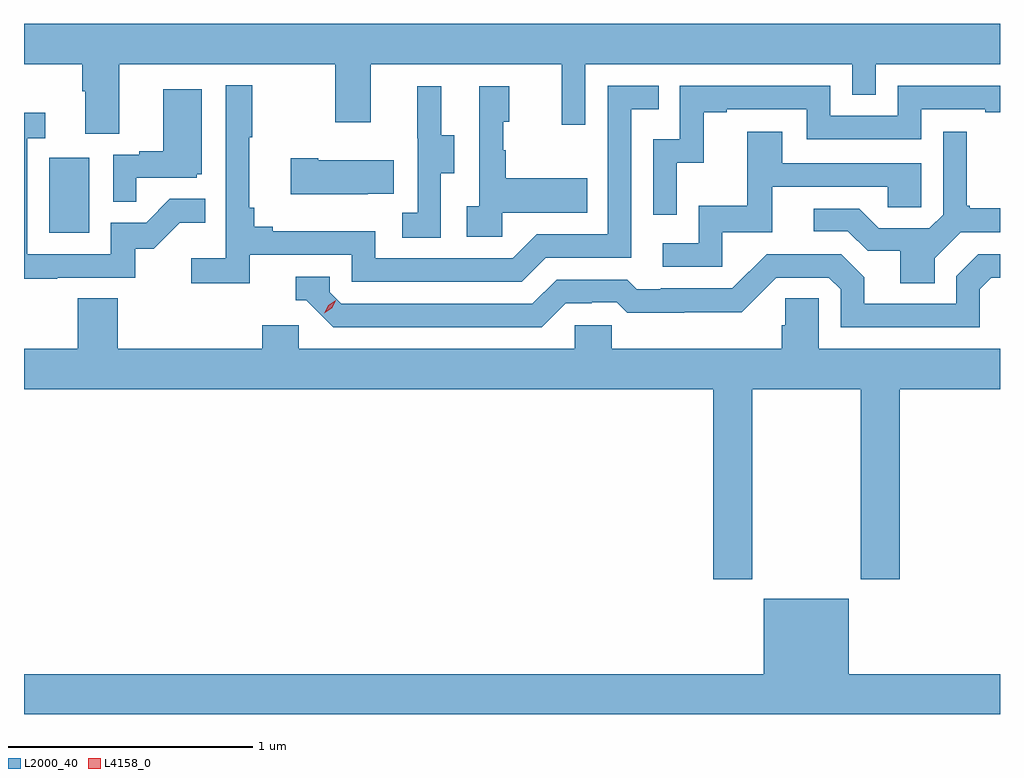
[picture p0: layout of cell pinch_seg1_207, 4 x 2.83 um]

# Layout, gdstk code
import gdstk
lib = gdstk.Library(unit=1e-6, precision=1e-09)
def R(c, l, rs):  # rectangles x0, y0, x1, y1
    for r in rs: c.add(gdstk.rectangle(r[:2], r[2:], *l))
def P(c, l, *ps):  # polygons
    for p in ps: c.add(gdstk.Polygon(p, *l))
L2000_40 = (2000, 40)
L4158_0 = (4158, 0)

pinch_seg1_207 = lib.new_cell('pinch_seg1_207')
R(pinch_seg1_207, L2000_40, [(1009.142,571.02,1009.306,571.327)])
P(pinch_seg1_207, L2000_40, [(1009.039,571.712),(1009.277,571.712),(1009.277,571.6),(1009.289,571.6),(1009.289,571.426),(1009.429,571.426),(1009.429,571.712),(1010.314,571.712),(1010.314,571.473),(1010.461,571.473),(1010.461,571.712),(1011.242,571.712),(1011.242,571.464),(1011.339,571.464),(1011.339,571.712),(1012.434,571.712),(1012.434,571.585),(1012.53,571.585),(1012.53,571.712),(1013.039,571.712),(1013.039,571.876),(1009.039,571.876)],
  [(1009.964,570.93),(1010.382,570.93),(1010.382,570.819),(1011.079,570.819),(1011.178,570.918),(1011.528,570.918),(1011.528,571.527),(1011.641,571.527),(1011.641,571.623),(1011.432,571.623),(1011.432,571.014),(1011.141,571.014),(1011.042,570.915),(1010.478,570.915),(1010.478,571.027),(1010.059,571.027),(1010.059,571.046),(1009.982,571.046),(1009.982,571.123),(1009.963,571.123),(1009.963,571.411),(1009.975,571.411),(1009.975,571.624),(1009.866,571.624),(1009.866,570.916),(1009.725,570.916),(1009.725,570.814),(1009.964,570.814)],
  [(1011.714,571.307),(1011.824,571.307),(1011.824,571.515),(1011.919,571.515),(1011.919,571.527),(1012.248,571.527),(1012.248,571.404),(1012.716,571.404),(1012.716,571.527),(1012.979,571.527),(1012.979,571.515),(1013.039,571.515),(1013.039,571.623),(1012.62,571.623),(1012.62,571.5),(1012.344,571.5),(1012.344,571.623),(1011.726,571.623),(1011.726,571.404),(1011.618,571.404),(1011.618,571.095),(1011.714,571.095)],
  [(1011,571.103),(1011.347,571.103),(1011.347,571.243),(1011.013,571.243),(1011.013,571.358),(1011.003,571.358),(1011.003,571.476),(1011.028,571.476),(1011.028,571.621),(1010.904,571.621),(1010.904,571.13),(1010.853,571.13),(1010.853,571.005),(1011,571.005)],
  [(1010.748,571.264),(1010.803,571.264),(1010.803,571.419),(1010.749,571.419),(1010.749,571.621),(1010.651,571.621),(1010.651,571.407),(1010.652,571.407),(1010.652,571.103),(1010.589,571.103),(1010.589,571),(1010.748,571)],
  [(1009.499,571.245),(1009.746,571.245),(1009.746,571.26),(1009.768,571.26),(1009.768,571.609),(1009.61,571.609),(1009.61,571.354),(1009.511,571.354),(1009.511,571.341),(1009.404,571.341),(1009.404,571.147),(1009.499,571.147)],
  [(1009.175,570.837),(1009.494,570.837),(1009.494,570.954),(1009.57,570.954),(1009.677,571.061),(1009.781,571.061),(1009.781,571.16),(1009.637,571.16),(1009.539,571.062),(1009.395,571.062),(1009.395,570.933),(1009.053,570.933),(1009.053,571.407),(1009.126,571.407),(1009.126,571.513),(1009.039,571.513),(1009.039,570.832),(1009.175,570.832)],
  [(1011.9,571.023),(1012.105,571.023),(1012.105,571.209),(1012.579,571.209),(1012.579,571.125),(1012.716,571.125),(1012.716,571.305),(1012.147,571.305),(1012.147,571.435),(1012.003,571.435),(1012.003,571.132),(1011.804,571.132),(1011.804,570.978),(1011.657,570.978),(1011.657,570.882),(1011.9,570.882)],
  [(1012.771,570.916),(1012.878,571.023),(1013.039,571.023),(1013.039,571.12),(1012.915,571.12),(1012.915,571.132),(1012.903,571.132),(1012.903,571.435),(1012.806,571.435),(1012.806,571.095),(1012.749,571.038),(1012.543,571.038),(1012.462,571.119),(1012.275,571.119),(1012.275,571.026),(1012.416,571.026),(1012.496,570.946),(1012.631,570.946),(1012.631,570.814),(1012.771,570.814)],
  [(1010.447,571.181),(1010.555,571.181),(1010.555,571.318),(1010.245,571.318),(1010.245,571.326),(1010.133,571.326),(1010.133,571.178),(1010.447,571.178)],
  [(1011.259,570.732),(1011.366,570.732),(1011.366,570.735),(1011.469,570.735),(1011.511,570.693),(1011.744,570.693),(1011.744,570.695),(1011.98,570.695),(1012.122,570.837),(1012.338,570.837),(1012.386,570.789),(1012.386,570.633),(1012.956,570.633),(1012.956,570.789),(1013.004,570.837),(1013.039,570.837),(1013.039,570.933),(1012.95,570.933),(1012.86,570.843),(1012.86,570.729),(1012.483,570.729),(1012.483,570.839),(1012.389,570.933),(1012.083,570.933),(1011.942,570.792),(1011.649,570.792),(1011.649,570.789),(1011.55,570.789),(1011.511,570.828),(1011.222,570.828),(1011.123,570.729),(1010.34,570.729),(1010.292,570.777),(1010.292,570.84),(1010.153,570.84),(1010.153,570.744),(1010.196,570.744),(1010.307,570.633),(1011.16,570.633)],
  [(1012.023,570.38),(1012.468,570.38),(1012.468,569.601),(1012.628,569.601),(1012.628,570.38),(1013.039,570.38),(1013.039,570.544),(1012.296,570.544),(1012.296,570.752),(1012.159,570.752),(1012.159,570.642),(1012.145,570.642),(1012.145,570.544),(1011.447,570.544),(1011.447,570.642),(1011.297,570.642),(1011.297,570.544),(1010.166,570.544),(1010.166,570.642),(1010.015,570.642),(1010.015,570.544),(1009.424,570.544),(1009.424,570.752),(1009.259,570.752),(1009.259,570.544),(1009.039,570.544),(1009.039,570.38),(1011.863,570.38),(1011.863,569.601),(1012.023,569.601)],
  [(1013.039,569.212),(1012.42,569.212),(1012.42,569.521),(1012.07,569.521),(1012.07,569.212),(1009.039,569.212),(1009.039,569.048),(1013.039,569.048)])
P(pinch_seg1_207, L4158_0, [(1010.27,570.69),(1010.27,570.69),(1010.286,570.723),(1010.316,570.743),(1010.316,570.743),(1010.316,570.742),(1010.301,570.71),(1010.27,570.69)])

lib.write_gds('pinch_seg1_207.gds')
